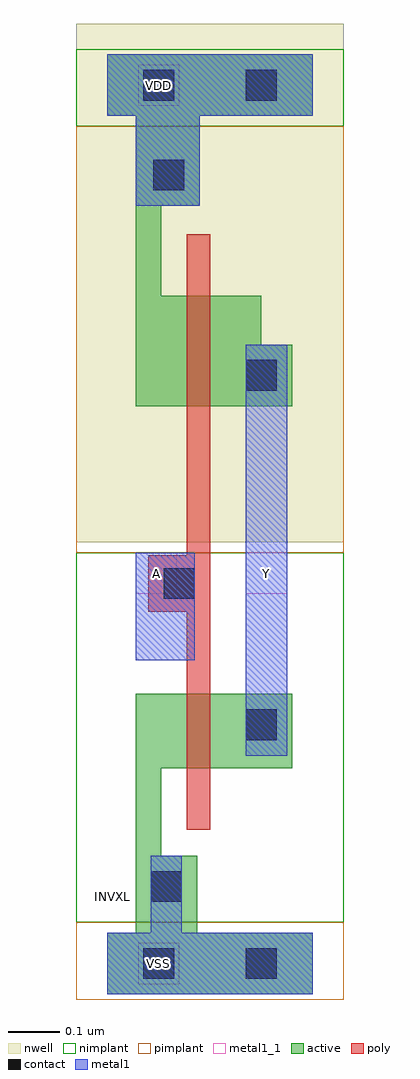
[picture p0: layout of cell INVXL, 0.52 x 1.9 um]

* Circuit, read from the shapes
.subckt INVXL A VDD VSS Y
M1 Y A VSS VSS nfet w=0.145u l=0.045u
M2 Y A VDD VDD pfet w=0.215u l=0.045u
.ends

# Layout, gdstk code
import gdstk
lib = gdstk.Library(unit=1e-6, precision=5e-10)
def R(c, l, rs):  # rectangles x0, y0, x1, y1
    for r in rs: c.add(gdstk.rectangle(r[:2], r[2:], *l))
def P(c, l, *ps):  # polygons
    for p in ps: c.add(gdstk.Polygon(p, *l))
active = (1, 0)
nwell = (2, 0)
poly = (3, 0)
nimplant = (4, 0)
pimplant = (5, 0)
contact = (6, 0)
metal1 = (7, 0)
metal1_1 = (7, 1)

invxl = lib.new_cell('INVXL')
P(invxl, active, [(0.4,0.06),(0.175,0.06),(0.175,0.21),(0.105,0.21),(0.105,0.38),(0.36,0.38),(0.36,0.525),(0.055,0.525),(0.055,0.06),(0,0.06),(0,-0.06),(0.4,-0.06)],
  [(0.4,1.77),(0,1.77),(0,1.65),(0.055,1.65),(0.055,1.085),(0.36,1.085),(0.36,1.205),(0.3,1.205),(0.3,1.3),(0.105,1.3),(0.105,1.475),(0.18,1.475),(0.18,1.65),(0.4,1.65)])
R(invxl, nwell, [(-0.06,0.82,0.46,1.83)])
P(invxl, poly, [(0.155,1.42),(0.2,1.42),(0.2,0.26),(0.155,0.26),(0.155,0.685),(0.08,0.685),(0.08,0.795),(0.155,0.795)])
R(invxl, nimplant, [(-0.06,0.08,0.46,0.8), (-0.06,1.63,0.46,1.78)])
R(invxl, pimplant, [(-0.06,-0.07,0.46,0.08), (-0.06,0.8,0.46,1.63)])
R(invxl, contact, [(0.07,-0.03,0.13,0.03), (0.27,-0.03,0.33,0.03), (0.085,0.12,0.145,0.18), (0.27,0.435,0.33,0.495), (0.11,0.71,0.17,0.77), (0.27,1.115,0.33,1.175), (0.09,1.505,0.15,1.565), (0.07,1.68,0.13,1.74), (0.27,1.68,0.33,1.74)])
R(invxl, metal1, [(0.27,0.405,0.35,1.205), (0.055,0.59,0.17,0.8)])
P(invxl, metal1, [(0.085,0.21),(0.145,0.21),(0.145,0.06),(0.4,0.06),(0.4,-0.06),(0,-0.06),(0,0.06),(0.085,0.06)],
  [(0,1.77),(0.4,1.77),(0.4,1.65),(0.18,1.65),(0.18,1.475),(0.055,1.475),(0.055,1.65),(0,1.65)])
R(invxl, metal1_1, [(0.06,-0.04,0.14,0.04), (0.055,0.72,0.135,0.8), (0.27,0.72,0.35,0.8), (0.06,1.67,0.14,1.75)])
invxl.add(gdstk.Label('Y', (0.31,0.76), layer=7, texttype=1))
invxl.add(gdstk.Label('A', (0.095,0.76), layer=7, texttype=1))
invxl.add(gdstk.Label('VSS', (0.1,0), layer=7, texttype=1))
invxl.add(gdstk.Label('VDD', (0.1,1.71), layer=7, texttype=1))
invxl.add(gdstk.Label('INVXL', (0.01,0.13), layer=63, texttype=0))

lib.write_gds('INVXL.gds')
